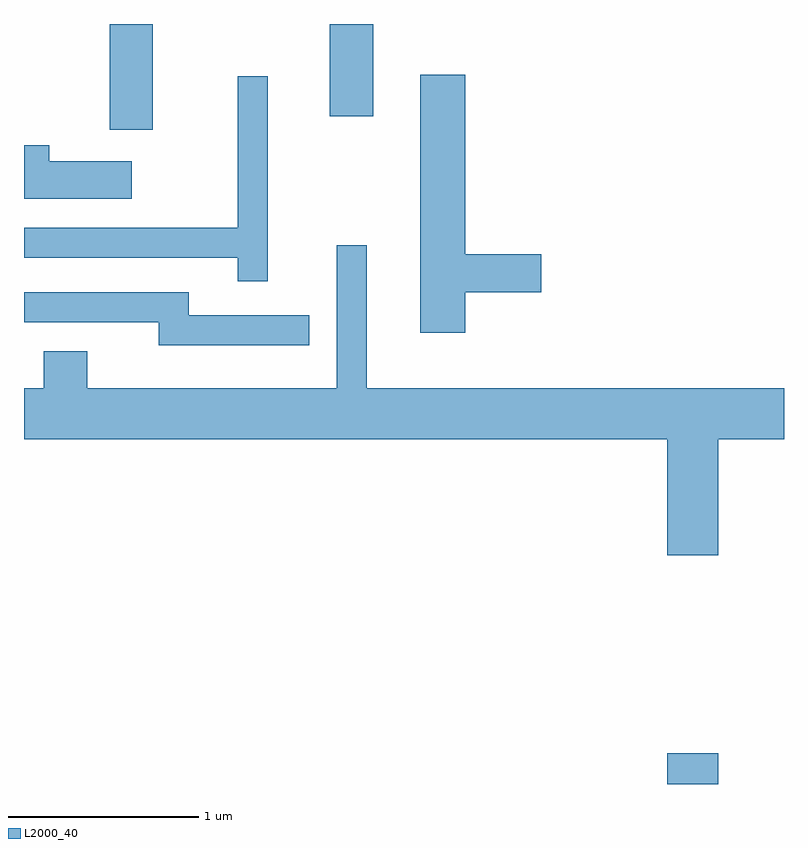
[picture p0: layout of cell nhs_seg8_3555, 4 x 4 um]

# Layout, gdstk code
import gdstk
lib = gdstk.Library(unit=1e-6, precision=1e-09)
def R(c, l, rs):  # rectangles x0, y0, x1, y1
    for r in rs: c.add(gdstk.rectangle(r[:2], r[2:], *l))
def P(c, l, *ps):  # polygons
    for p in ps: c.add(gdstk.Polygon(p, *l))
L2000_40 = (2000, 40)

nhs_seg8_3555 = lib.new_cell('nhs_seg8_3555')
R(nhs_seg8_3555, L2000_40, [(294.996,1872.342,295.264,1872.504), (292.061,1875.786,292.289,1876.342), (293.221,1875.856,293.449,1876.342)])
P(nhs_seg8_3555, L2000_40, [(293.934,1874.931),(294.334,1874.931),(294.334,1875.129),(293.934,1875.129),(293.934,1876.074),(293.696,1876.074),(293.696,1874.716),(293.934,1874.716)],
  [(292.894,1876.068),(292.736,1876.068),(292.736,1875.269),(291.611,1875.269),(291.611,1875.111),(292.736,1875.111),(292.736,1874.988),(292.894,1874.988)],
  [(292.179,1875.619),(291.744,1875.619),(291.744,1875.704),(291.611,1875.704),(291.611,1875.421),(292.179,1875.421)],
  [(295.264,1874.156),(295.611,1874.156),(295.611,1874.424),(293.414,1874.424),(293.414,1875.178),(293.256,1875.178),(293.256,1874.424),(291.944,1874.424),(291.944,1874.619),(291.716,1874.619),(291.716,1874.424),(291.611,1874.424),(291.611,1874.156),(294.996,1874.156),(294.996,1873.546),(295.264,1873.546)],
  [(293.113,1874.809),(292.479,1874.809),(292.479,1874.929),(291.611,1874.929),(291.611,1874.771),(292.321,1874.771),(292.321,1874.651),(293.113,1874.651)])

lib.write_gds('nhs_seg8_3555.gds')
